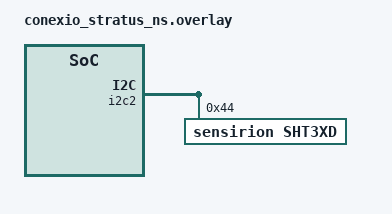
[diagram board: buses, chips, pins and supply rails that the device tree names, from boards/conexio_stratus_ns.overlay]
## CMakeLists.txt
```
#
# Copyright (c) 2018 Peter Bigot Consulting, LLC
#
# SPDX-License-Identifier: Apache-2.0
#

cmake_minimum_required(VERSION 3.20.0)
# Override BOARD_ROOT to always point at this SDK's boards/ directory.
# Using CACHE FORCE ensures this wins over any -DBOARD_ROOT passed by the IDE
# or build system, preventing "board defined multiple times" errors when
# multiple SDK versions are present in the environment.
set(BOARD_ROOT "${CMAKE_CURRENT_SOURCE_DIR}/../../.." CACHE PATH "" FORCE)

find_package(Zephyr REQUIRED HINTS $ENV{ZEPHYR_BASE})
project(sht3xd)

FILE(GLOB app_sources src/*.c)
target_sources(app PRIVATE ${app_sources})
```

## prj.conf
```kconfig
#
# Copyright (c) 2024 Conexio Technologies, Inc
#
# SPDX-License-Identifier: Apache-2.0
#

CONFIG_STDOUT_CONSOLE=y
CONFIG_I2C=y
CONFIG_SENSOR=y
CONFIG_CBPRINTF_FP_SUPPORT=y

# TF-M minimal profile (required when not using full TF-M PS/ITS/OTP storage)
CONFIG_TFM_PROFILE_TYPE_MINIMAL=y
```

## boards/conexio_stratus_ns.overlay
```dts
/*
 * Copyright (c) 2024 Conexio Technologies, Inc
 *
 * SPDX-License-Identifier: Apache-2.0
 */

/*
 * Conexio Stratus nRF9160 device overlay configuration for SHT3XD sensor connected to I2C port
 *
 */

#include <samples/cellular/nrf91_bootloader_partitions.dtsi>
#include <samples/cellular/nrf91_sram_partitions.dtsi>

&i2c2 {
	status = "okay";
	sht3xd@44 {
		status = "okay";
		compatible = "sensirion,sht3xd";
		reg = <0x44>;
	};
};
```

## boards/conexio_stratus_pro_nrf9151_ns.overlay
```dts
/*
 * Copyright (c) 2024 Conexio Technologies, Inc
 *
 * SPDX-License-Identifier: Apache-2.0
 */

/*
 * Conexio Stratus Pro nRF9151 device overlay configuration for SHT3XD sensor connected to QWIIC port
 *
 */

#include <samples/cellular/nrf91_bootloader_partitions.dtsi>
#include <samples/cellular/nrf91_sram_partitions.dtsi>

&i2c2 {
	status = "okay";
	sht3xd@44 {
		status = "okay";
		compatible = "sensirion,sht3xd";
		reg = <0x44>;
	};
};
```

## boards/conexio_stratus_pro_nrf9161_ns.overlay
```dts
/*
 * Copyright (c) 2024 Conexio Technologies, Inc
 *
 * SPDX-License-Identifier: Apache-2.0
 */

/*
 * Conexio Stratus Pro nRF9161 device overlay configuration for SHT3XD sensor connected to QWIIC port
 *
 */

#include <samples/cellular/nrf91_bootloader_partitions.dtsi>
#include <samples/cellular/nrf91_sram_partitions.dtsi>

&i2c2 {
	status = "okay";
	sht3xd@44 {
		status = "okay";
		compatible = "sensirion,sht3xd";
		reg = <0x44>;
	};
};
```

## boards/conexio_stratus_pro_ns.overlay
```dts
/*
 * Copyright (c) 2024 Conexio Technologies, Inc
 *
 * SPDX-License-Identifier: Apache-2.0
 */

/*
 * Conexio Stratus Pro device overlay configuration for SHT3XD sensor connected to QWIIC port
 *
 */
&i2c2 {
	status = "okay";
	sht3xd@44 {
		status = "okay";
		compatible = "sensirion,sht3xd";
		reg = <0x44>;
	};
};
```

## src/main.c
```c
/*
 * Copyright (c) 2024 Conexio Technologies, Inc
 *
 * SPDX-License-Identifier: Apache-2.0
 */

#include <zephyr/kernel.h>
#include <zephyr/device.h>
#include <zephyr/drivers/sensor.h>
#include <stdio.h>

int main(void)
{
	printf("SHT3XD sensor sample running on %s\n", CONFIG_BOARD);

	const struct device *const dev = DEVICE_DT_GET_ONE(sensirion_sht3xd);
	int rc;

	if (!device_is_ready(dev)) {
		printf("Device %s is not ready\n", dev->name);
		return 0;
	}

	while (true) {
		struct sensor_value temp, hum;

		rc = sensor_sample_fetch(dev);
		if (rc == 0) {
			rc = sensor_channel_get(dev, SENSOR_CHAN_AMBIENT_TEMP,
						&temp);
		}
		if (rc == 0) {
			rc = sensor_channel_get(dev, SENSOR_CHAN_HUMIDITY,
						&hum);
		}
		if (rc != 0) {
			printf("SHT3XD: failed: %d\n", rc);
			break;
		}

		float temp_celsius = sensor_value_to_double(&temp);
		float temp_fahrenheit = (temp_celsius * 9.0 / 5.0) + 32.0;

		printf("SHT3XD: %.2f °C ; %.2f °F ; %.2f %%RH\n",
				temp_celsius,
				temp_fahrenheit,
				sensor_value_to_double(&hum));

		k_sleep(K_MSEC(2000));
	}
	return 0;
}
```
